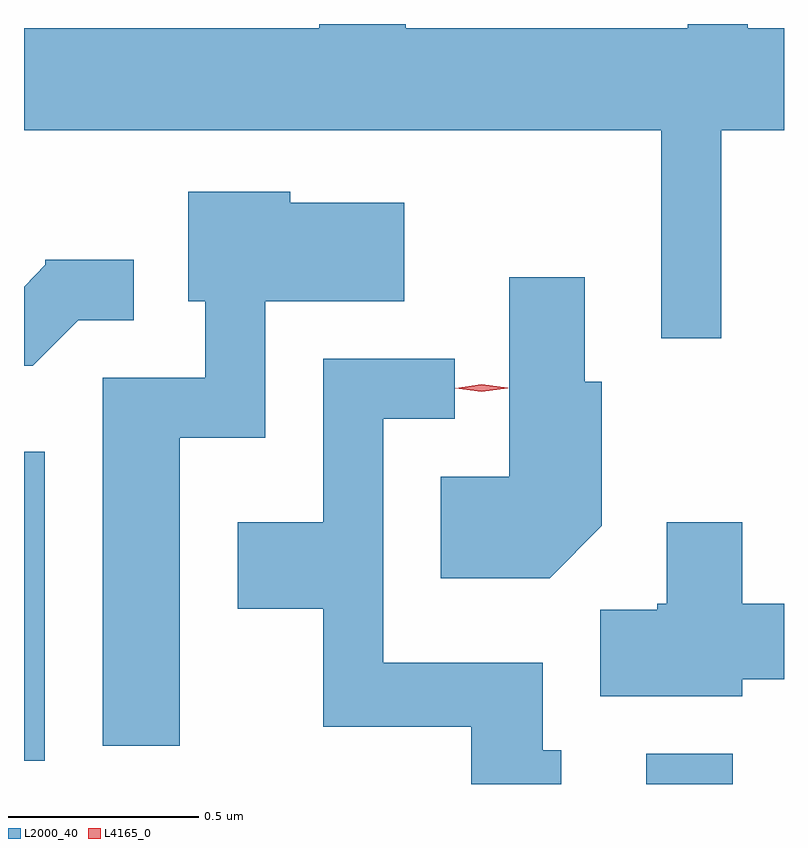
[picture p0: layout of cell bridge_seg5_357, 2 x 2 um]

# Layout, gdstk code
import gdstk
lib = gdstk.Library(unit=1e-6, precision=1e-09)
def R(c, l, rs):  # rectangles x0, y0, x1, y1
    for r in rs: c.add(gdstk.rectangle(r[:2], r[2:], *l))
def P(c, l, *ps):  # polygons
    for p in ps: c.add(gdstk.Polygon(p, *l))
L2000_40 = (2000, 40)
L4165_0 = (4165, 0)

bridge_seg5_357 = lib.new_cell('bridge_seg5_357')
R(bridge_seg5_357, L2000_40, [(708.821,1415.115,709.049,1415.194), (707.184,1415.176,707.239,1415.989)])
P(bridge_seg5_357, L2000_40, [(709.019,1416.836),(709.184,1416.836),(709.184,1417.104),(709.089,1417.104),(709.089,1417.115),(708.931,1417.115),(708.931,1417.104),(708.189,1417.104),(708.189,1417.115),(707.961,1417.115),(707.961,1417.104),(707.184,1417.104),(707.184,1416.836),(708.861,1416.836),(708.861,1416.288),(709.019,1416.288)],
  [(707.594,1416.026),(707.819,1416.026),(707.819,1416.386),(708.184,1416.386),(708.184,1416.644),(707.884,1416.644),(707.884,1416.674),(707.616,1416.674),(707.616,1416.386),(707.661,1416.386),(707.661,1416.184),(707.391,1416.184),(707.391,1415.216),(707.594,1415.216)],
  [(707.327,1416.336),(707.473,1416.336),(707.473,1416.494),(707.24,1416.494),(707.24,1416.481),(707.184,1416.424),(707.184,1416.216),(707.207,1416.216)],
  [(708.704,1415.794),(708.704,1416.174),(708.659,1416.174),(708.659,1416.449),(708.461,1416.449),(708.461,1415.924),(708.281,1415.924),(708.281,1415.656),(708.567,1415.656)],
  [(708.598,1415.204),(708.549,1415.204),(708.549,1415.434),(708.129,1415.434),(708.129,1416.076),(708.318,1416.076),(708.318,1416.234),(707.971,1416.234),(707.971,1415.804),(707.746,1415.804),(707.746,1415.576),(707.971,1415.576),(707.971,1415.266),(708.361,1415.266),(708.361,1415.115),(708.598,1415.115)],
  [(709.074,1415.391),(709.184,1415.391),(709.184,1415.589),(709.074,1415.589),(709.074,1415.804),(708.876,1415.804),(708.876,1415.589),(708.85,1415.589),(708.85,1415.574),(708.701,1415.574),(708.701,1415.346),(709.074,1415.346)])
P(bridge_seg5_357, L4165_0, [(708.388,1416.147),(708.319,1416.156),(708.318,1416.157),(708.319,1416.157),(708.388,1416.167),(708.457,1416.158),(708.457,1416.157),(708.457,1416.157)])

lib.write_gds('bridge_seg5_357.gds')
